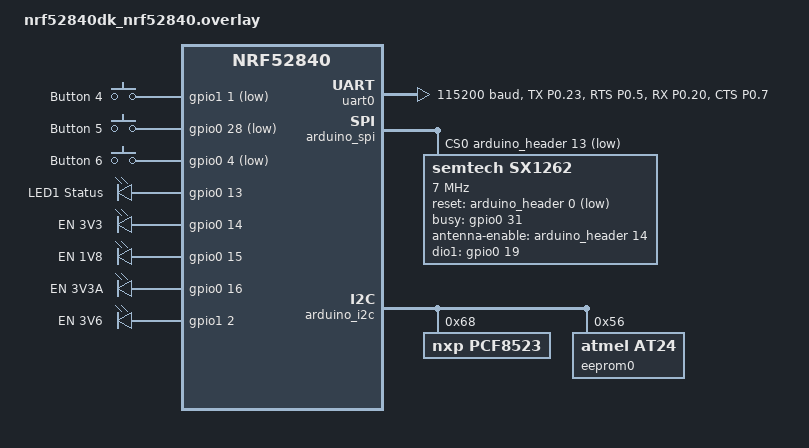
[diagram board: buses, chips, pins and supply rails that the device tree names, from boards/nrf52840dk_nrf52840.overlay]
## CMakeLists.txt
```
# SPDX-License-Identifier: Apache-2.0

cmake_minimum_required(VERSION 3.20.0)

find_package(Zephyr REQUIRED HINTS $ENV{ZEPHYR_BASE})
project(lorawan)

# Explicit sources to ensure sysbuild picks up new files
target_sources(app PRIVATE
  src/main.c
  src/lora_app.c
  src/lora_thread.c
  src/devnonce_store.c
  src/payload_gen.c
  src/power_ctrl.c
  src/buttons.c
  src/button_thread.c
  src/leds.c
  src/led_manager.c
  src/time_sync.c
  src/eeprom_probe.c
  src/button_counter_store.c
  src/rtc.c
)
```

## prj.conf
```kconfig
# Logging (Step 8: Optimize for power savings)
# CONFIG_LOG=y
# Use deferred logging mode - logs are buffered and processed in batches
# This reduces UART activity and allows CPU to sleep more
# CONFIG_LOG_MODE_DEFERRED=y
# Reduce log level to WRN/ERR only for production (reduces logging overhead)
# Change to CONFIG_LOG_DEFAULT_LEVEL_DBG=4 for full debugging
# CONFIG_LOG_DEFAULT_LEVEL=2

# CONFIG_LOG=y
# CONFIG_LOG_MODE_IMMEDIATE=y

# LoRaWAN
CONFIG_LORA=y
CONFIG_LORAWAN=y
# CONFIG_LORAMAC_REGION_US915=y
CONFIG_LORAMAC_REGION_EU868=y
CONFIG_TEST_RANDOM_GENERATOR=y
CONFIG_LORA_SX126X=y
# CONFIG_LORA_LOG_LEVEL_DBG=y

# Stack Sizes
CONFIG_MAIN_STACK_SIZE=2048
CONFIG_SYSTEM_WORKQUEUE_STACK_SIZE=2048

# System
CONFIG_REBOOT=y
CONFIG_SPI=y

# Power Management (Step 1: Enable tickless idle)
# Enable tickless kernel for deep sleep during idle
# This allows CPU to enter System ON sleep mode when threads call k_sleep()
CONFIG_TICKLESS_KERNEL=y
# Note: PM_DEVICE_RUNTIME removed - it was causing I2C device initialization issues
# Basic tickless idle provides 99%+ power savings without runtime PM

# I2C (for PCF8523 RTC)
CONFIG_I2C=y

# EEPROM (AT24-compatible I2C EEPROM like 24LC512/24AA512)
CONFIG_EEPROM=y
CONFIG_EEPROM_AT24=y

# GPIO (buttons)
CONFIG_GPIO=y

# CRC (used for EEPROM record integrity)
CONFIG_CRC=y

# RTC (optional; required only if an RTC node exists in DTS)
CONFIG_RTC=y
CONFIG_RTC_PCF8523=y


# CONFIG_BOOT_DELAY=5000

CONFIG_SERIAL=y
CONFIG_CONSOLE=y
CONFIG_UART_CONSOLE=y

# (Optional) Enable line control features (e.g. for USB CDC ACM)
# CONFIG_UART_LINE_CTRL=y
```

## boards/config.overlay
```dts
// /*
// * Copyright (C) 2023 Nordic Semiconductor ASA
// * SPDX-License-Identifier: Apache-2.0
// */

// #include <dt-bindings/regulator/npm13xx.h>
// #include <zephyr/dt-bindings/input/input-event-codes.h>

// &arduino_i2c {
//    npm1300_ek_pmic: pmic@6b {
//        compatible = "nordic,npm1300";
//        reg = <0x6b>;

       
//     // ship-to-active-time = <96>;

       
//     // long-press-reset = "one_button";


//        npm1300_ek_gpio: gpio-controller {
//            compatible = "nordic,npm1300-gpio";
//            gpio-controller;
//            #gpio-cells = <2>;
//            ngpios = <5>;
//        };

//        npm1300_ek_regulators: regulators {
//            compatible = "nordic,npm1300-regulator";

           
// npm1300_ek_buck1: BUCK1 {
//     regulator-min-microvolt = <1000000>;
//     regulator-max-microvolt = <3300000>;
//     regulator-init-microvolt =  <3300000>;
//     retention-microvolt = <1200000>;
    
    
    
    
    
// };



// npm1300_ek_buck2: BUCK2 {
//     regulator-min-microvolt = <1000000>;
//     regulator-max-microvolt = <3300000>;
//     regulator-init-microvolt =  <3300000>;
//     retention-microvolt = <1800000>;
    
    
    
    
    
// };


            
// npm1300_ek_ldo1: LDO1 {
//     regulator-min-microvolt = <1000000>;
//     regulator-max-microvolt = <3300000>;
    
//     regulator-initial-mode = <NPM13XX_LDSW_MODE_LDSW>;
    
    
// };



// npm1300_ek_ldo2: LDO2 {
//     regulator-min-microvolt = <1000000>;
//     regulator-max-microvolt = <3300000>;
    
//     regulator-initial-mode = <NPM13XX_LDSW_MODE_LDSW>;
    
    
// };

//        };

       
// npm1300_ek_charger: charger {
//     compatible = "nordic,npm1300-charger";
//     term-microvolt = <3600000>;
//     term-warm-microvolt = <3600000>;
//     // term-current-percent = <10>;
//     current-microamp = <32000>;
//     // trickle-microvolt = <2900000>;
//     dischg-limit-microamp = <1000000>;
//     vbus-limit-microamp = <500000>;
//     thermistor-ohms = <10000>;
//     thermistor-beta = <3380>;
    
    
    
// };

       
// npm1300_ek_leds: leds {
//     compatible = "nordic,npm1300-led";
//     nordic,led0-mode = "error";    
// nordic,led1-mode = "charging";    
// nordic,led2-mode = "host";
// };

//    };
// };

// &i2c0_default{
//     group2{
//         psels = <NRF_PSEL(TWIM_SCL,0,27)>,<NRF_PSEL(TWIM_SDA,0,26)>;
//         bias-pull-up;
//         };
// };
// /delete-node/ &{/pin-controller/i2c0_default/group1/};
```

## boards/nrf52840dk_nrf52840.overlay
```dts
/ {
    aliases {
        sw0 = &button0;
        sw1 = &button1;
        sw2 = &button2;
        sw3 = &button3;
        sw4 = &button4;
        sw5 = &button5;
        sw6 = &button6;
        led0 = &led0;
        lora0 = &lora_semtech_sx1262mb2das;
    };

    buttons {
        compatible = "gpio-keys";

        button4: button_4 {
            label = "Button 4";
            gpios = <&gpio1 1 (GPIO_ACTIVE_LOW | GPIO_PULL_UP)>;
        };

        button5: button_5 {
            label = "Button 5";
            gpios = <&gpio0 28 (GPIO_ACTIVE_LOW | GPIO_PULL_UP)>;
        };

        button6: button_6 {
            label = "Button 6";
            gpios = <&gpio0 4 (GPIO_ACTIVE_LOW | GPIO_PULL_UP)>;
        };
    };

leds {
		compatible = "gpio-leds";

		led0: led_0 {
			gpios = <&gpio0 13 GPIO_ACTIVE_HIGH>;
			label = "LED1 Status";
		};
	};

enables {
		compatible = "gpio-leds";

		en3v3: en3v3 {
			gpios = <&gpio0 14 GPIO_ACTIVE_HIGH>;
			label = "EN 3V3";
		};

		en1v8: en1v8 {
			gpios = <&gpio0 15 GPIO_ACTIVE_HIGH>;
			label = "EN 1V8";
		};

		en3v3a: en3v3a {
			gpios = <&gpio0 16 GPIO_ACTIVE_HIGH>;
			label = "EN 3V3A";
		};

		en3v6: en3v6 {
			gpios = <&gpio1 2 GPIO_ACTIVE_HIGH>;
			label = "EN 3V6";
		};
	};
};


	
&spi1 {	
	status="disabled";
};	
	
&qspi {	
	status="disabled";
};	
	
&pwm0 {	
	status="disabled";
};	


/* ---------- PINCTRL configuration ---------- */
&pinctrl {
    uart0_default: uart0_default {
        group1 {
            psels = <NRF_PSEL(UART_TX, 0, 23)>,
                    <NRF_PSEL(UART_RTS, 0, 5)>;
        };
        group2 {
            psels = <NRF_PSEL(UART_RX, 0, 20)>,
                    <NRF_PSEL(UART_CTS, 0, 7)>;
            bias-pull-up;
        };
    };

    uart0_sleep: uart0_sleep {
        group1 {
            psels = <NRF_PSEL(UART_TX, 0, 23)>,
                    <NRF_PSEL(UART_RX, 0, 20)>,
                    <NRF_PSEL(UART_RTS, 0, 5)>,
                    <NRF_PSEL(UART_CTS, 0, 7)>;
            low-power-enable;
        };
    };
};

/* ---------- UART configuration ---------- */
&uart0 {
    compatible = "nordic,nrf-uarte";
    status = "okay";
    current-speed = <115200>;

    /* Link pinctrl groups */
    pinctrl-0 = <&uart0_default>;
    pinctrl-1 = <&uart0_sleep>;
    pinctrl-names = "default", "sleep";

    /* Optional: disable HW flow control if not used */
    // hw-flow-control;
};



&arduino_spi {
	status = "okay";

	/* CS pins for each SPI device: [0]=LoRa, [1]=EPD, [2]=NFC */
	cs-gpios = <&arduino_header 13 GPIO_ACTIVE_LOW>; /* LoRa CS - P1.08 */
	       
	// SX1262 SHIELD
	// lora_semtech_sx1262mb2das: sx1262@0 {
	// 	compatible = "semtech,sx1262";
	// 	reg = <0>;
	// 	spi-max-frequency = <7000000>;
	// 	label = "SX1262";
	// 	reset-gpios = <&arduino_header 0 GPIO_ACTIVE_LOW>;
	// 	busy-gpios = <&arduino_header 9 GPIO_ACTIVE_HIGH>;
	// 	antenna-enable-gpios = <&arduino_header 14 GPIO_ACTIVE_HIGH>;
	// 	dio1-gpios = <&arduino_header 11 GPIO_ACTIVE_HIGH>;
	// 	dio2-tx-enable;
	// 	tcxo-power-startup-delay-ms = <5>;
	// };

	// LR62E
	lora_semtech_sx1262mb2das: sx1262@0 {
	compatible = "semtech,sx1262";
	reg = <0>;
	spi-max-frequency = <7000000>;
	label = "SX1262";
	reset-gpios = <&arduino_header 0 GPIO_ACTIVE_LOW>; // 0,3
	busy-gpios = <&gpio0 31 GPIO_ACTIVE_HIGH>; // 0,31
	antenna-enable-gpios = <&arduino_header 14 GPIO_ACTIVE_HIGH>; // 1,10 
	dio1-gpios = <&gpio0 19 GPIO_ACTIVE_HIGH>; //  0,19
	dio2-tx-enable;
	tcxo-power-startup-delay-ms = <5>;

	// SEEED WIO
	// lora_semtech_sx1262mb2das: sx1262@0 {
    // compatible = "semtech,sx1262";
    // reg = <0>;
    // /* SPI */
    // spi-max-frequency = <8000000>;
    // label = "SX1262";
    // /* Control signals */
    // reset-gpios = <&arduino_header 0 GPIO_ACTIVE_LOW>; /* P0.03 */
    // busy-gpios  = <&gpio0 31 GPIO_ACTIVE_HIGH>;        /* P0.31 */
    // dio1-gpios  = <&gpio0 19 GPIO_ACTIVE_HIGH>;        /* P0.19 */
    // /* TCXO (Wio-SX1262 uses DIO3 @ 1.8V) */
    // dio3-tcxo-voltage = <0x02>;
    // tcxo-power-startup-delay-ms = <5>;
    // /* RF switch handled internally via DIO2 */
    // dio2-tx-enable;
    // status = "okay";

	};

};

/* PCF8523 RTC on I2C (address 0x68).
 * Adjust wiring/pins by switching to &i2c0 / &i2c1 if needed, but
 * nrf52840dk's &arduino_i2c is usually routed to the Arduino header.
 */
&arduino_i2c {
	status = "okay";

	pcf8523: pcf8523@68 {
		compatible = "nxp,pcf8523";
		reg = <0x68>;
		/* Required by binding: choose "disabled" unless you have VBAT wired */
		battery-switch-over = "standard";
		/* Optional: disable CLKOUT to save power/noise */
		clkout-frequency = <0>;
	};

	/*
	 * External EEPROM (Microchip 24AA512/24LC512/24FC512, 512 Kbit = 64 KiB)
	 * I2C address: 0x56 (as wired on your custom board)
	 */
	eeprom0: eeprom@56 {
		compatible = "atmel,at24";
		reg = <0x56>;
		size = <65536>;
		pagesize = <128>;
		address-width = <16>;
		/* Binding requires a timeout (ms) for write-cycle completion polling */
		timeout = <5>;
	};
};
```

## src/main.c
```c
/*
 * LoRaWAN Application
 *
 * SPDX-License-Identifier: Apache-2.0
 */

#include <stdbool.h>
#include <string.h>
#include <zephyr/device.h>
#include <zephyr/devicetree.h>
#include <zephyr/drivers/i2c.h>
#include <zephyr/kernel.h>
#include <zephyr/logging/log.h>
#include <zephyr/sys/util.h>

#include "button_counter_store.h"
#include "button_thread.h"
#include "buttons.h"
#include "devnonce_store.h"
#include "eeprom_probe.h"
#include "led_manager.h"
#include "log_fmt.h"
#include "lora_app.h"
#include "payload_gen.h"
#include "power_ctrl.h"
#include "rtc.h"
#include "sys_config.h"
#include "time_sync.h"

#include <zephyr/sys/reboot.h>

LOG_MODULE_REGISTER(main, CONFIG_LOG_DEFAULT_LEVEL);

#define SEND_INTERVAL K_SECONDS(LORA_SEND_INTERVAL_SECONDS)

int main(void) {
  int ret;

  LOG_SECTION_INF("LoRaWAN Application Starting");

  k_sleep(K_SECONDS(1));

  ret = power_ctrl_init();
  if (ret < 0) {
    LOG_ERR("Power control init failed: %d", ret);
    return ret;
  }

  /* Power up all domains for initialization */
  power_ctrl_set(POWER_EN_3V3, true);
  power_ctrl_set(POWER_EN_1V8, true);
  power_ctrl_set(POWER_EN_3V3A, true);
  power_ctrl_set(
      POWER_EN_3V6,
      true); /* LoRa radio - will be managed by lora_thread after join */

  k_sleep(K_SECONDS(1));

  /* Wait for I2C bus to stabilize after power-on */
#if DT_NODE_EXISTS(DT_NODELABEL(arduino_i2c))
  const struct device *i2c_dev = DEVICE_DT_GET(DT_NODELABEL(arduino_i2c));
  if (i2c_dev != NULL) {
    int i2c_retries = 10;
    while (i2c_retries > 0 && !device_is_ready(i2c_dev)) {
      LOG_DBG("Waiting for I2C bus to be ready...");
      k_msleep(100);
      i2c_retries--;
    }
    if (device_is_ready(i2c_dev)) {
      LOG_INF("I2C bus ready");
    } else {
      LOG_WRN("I2C bus not ready after waiting");
    }
  }
  /* Additional delay for EEPROM power-on stabilization */
  k_msleep(50);
#endif

  /* Initialize payload generator (stable NFC UID, counters) */
  payload_gen_init();

  /* Initialize LED manager early (used for join + button feedback) */
  ret = led_manager_init();
  if (ret != 0) {
    LOG_WRN("LED manager init failed (%d); LED feedback may be disabled", ret);
  }

  /* EEPROM bring-up (readiness check only) */
  eeprom_probe_log();

  /* Persistent button counters (EEPROM is mandatory) */
  ret = button_counter_store_init();
  if (ret != 0) {
    LOG_ERR("Button counter store init failed (%d) - rebooting", ret);
    sys_reboot(SYS_REBOOT_COLD);
  }

  /* Persistent DevNonce (EEPROM-backed). Mandatory for robust OTAA joins. */
  ret = devnonce_store_init();
  if (ret != 0) {
    LOG_ERR("DevNonce store init failed (%d) - rebooting", ret);
    sys_reboot(SYS_REBOOT_COLD);
  }

#if EEPROM_DEVNONCE_FACTORY_RESET_ON_BOOT
  /* One-shot maintenance: erase DevNonce and reinitialize with random value, then reboot. */
  ret = devnonce_store_factory_reset();
  if (ret != 0) {
    LOG_ERR("DevNonce factory reset failed (%d) - rebooting", ret);
  }
  LOG_INF("DevNonce factory reset complete - rebooting");
  sys_reboot(SYS_REBOOT_COLD);
#endif

#if EEPROM_COUNTERS_FACTORY_RESET_ON_BOOT
  /* One-shot maintenance: wipe persistent counters, then reboot. */
  ret = button_counter_store_factory_reset();
  if (ret != 0) {
    LOG_ERR("Factory reset failed (%d) - rebooting", ret);
  }
  sys_reboot(SYS_REBOOT_COLD);
#endif

  /* Optional RTC init (button mode uses RTC timestamps) */
  ret = rtc_app_init();
  if (ret != 0) {
    LOG_WRN("RTC init not available (%d); button timestamps may fall back",
            ret);
    sys_reboot(SYS_REBOOT_COLD);
  }

  /* Initialize LoRaWAN stack */
  ret = lora_app_init();
  if (ret < 0) {
    LOG_ERR("Failed to initialize LoRa app: %d", ret);
    return 0;
  }

  /* Start the LoRa thread for join and message processing */
  k_thread_start(lora_thread_id);
  LOG_INF("LoRa thread started");

  /* Wait for actual join completion (timeout after 2 minutes) */
  LOG_INF("Waiting for LoRa join to complete...");
  ret = lora_wait_for_join(K_SECONDS(120));
  if (ret != 0) {
    LOG_ERR("LoRa join did not complete within timeout!");
#if LORA_REBOOT_ON_JOIN_TIMEOUT
    LOG_ERR("LORA_REBOOT_ON_JOIN_TIMEOUT=1; rebooting");
    sys_reboot(SYS_REBOOT_COLD);
#endif
    /* Continue anyway - the thread will keep trying to join (if reboot
     * disabled) */
  } else {
    LOG_INF("LoRa join confirmed!");
  }

#if RTC_REQUIRE_LNS_TIME_SYNC
  LOG_SECTION_INF("RTC SYNC REQUIRED: requesting LoRaWAN network time");
  time_sync_request_and_update_rtc();
  ret = time_sync_wait(K_SECONDS(RTC_TIME_SYNC_REQUIRED_TIMEOUT_SECONDS));
  if (ret != 0) {
    LOG_ERR("RTC time sync did not complete successfully (%d) - rebooting",
            ret);
    sys_reboot(SYS_REBOOT_COLD);
  }
#endif

  if (DEMO_USE_REAL_BUTTON_UPLINK) {
    LOG_INF("Demo mode: REAL BUTTON uplinks");

    ret = buttons_init();
    if (ret != 0) {
      LOG_ERR("buttons_init failed: %d", ret);
      return 0;
    }

    k_thread_start(button_uplink_thread_id);
    LOG_INF("Button uplink thread started");

    /* Buttons are interrupt-driven, so main thread can sleep indefinitely.
     * Button presses wake the system via GPIO interrupts, and the button
     * thread handles all uplink processing. This allows maximum deep sleep
     * time and minimal power consumption.
     */
    LOG_INF("Main thread entering deep sleep (buttons wake via interrupt)");
    while (1) {
      k_sleep(K_FOREVER); /* Sleep indefinitely - buttons wake via interrupt */
    }
  }

  LOG_INF("Demo mode: PSEUDO simulation; sending every %d seconds",
          LORA_SEND_INTERVAL_SECONDS);

  /* Main loop - generate + queue payloads every interval.
   * With tickless kernel enabled, k_sleep() allows CPU to enter deep sleep
   * during the 15-minute interval, providing maximum power savings.
   */
  while (1) {
    lora_uplink_msg_t msg = {0};
    uint8_t fport = 0;
    uint8_t payload[PAYLOAD_LEN_BYTES] = {0};

    /* Generate next rotating payload */
    ret = payload_gen_next(payload, &fport);
    if (ret != 0) {
      LOG_ERR("Failed to generate payload: %d", ret);
      /* Deep sleep during interval - tickless kernel handles this */
      k_sleep(SEND_INTERVAL);
      continue;
    }

    /* Prepare uplink message */
    msg.port = fport;
    msg.confirmed = false;
    msg.len = PAYLOAD_LEN_BYTES;
    memcpy(msg.data, payload, PAYLOAD_LEN_BYTES);
    payload_hex_dump(payload, PAYLOAD_LEN_BYTES);
    payload_decode_log(payload, PAYLOAD_LEN_BYTES);

    /* Queue the message for sending */
    ret = lora_put_event(&msg, K_NO_WAIT);
    if (ret == -ENOTCONN) {
      LOG_WRN("Not joined to network yet, skipping message");
    } else if (ret != 0) {
      LOG_ERR("Failed to queue LoRa message: %d", ret);
    } else {
      LOG_INF("Message queued successfully");
    }

    /* Deep sleep during interval - tickless kernel allows CPU to enter
     * System ON sleep mode, waking only when the timer expires.
     * This provides maximum power savings between transmissions.
     */
    k_sleep(SEND_INTERVAL);
  }

  return 0;
}
```

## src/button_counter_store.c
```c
/*
 * Persistent per-button counters stored in external AT24-compatible EEPROM.
 *
 * Design:
 * - Two fixed slots (A/B) with seq + CRC32 for power-loss safety.
 * - Counters cached in RAM and flushed to EEPROM after a short delay.
 * - EEPROM is mandatory for production; callers can hard-fail if init fails.
 */

#include "button_counter_store.h"

#include "log_fmt.h"
#include "sys_config.h"

#include <errno.h>
#include <string.h>
#include <zephyr/device.h>
#include <zephyr/drivers/eeprom.h>
#include <zephyr/kernel.h>
#include <zephyr/logging/log.h>
#include <zephyr/sys/crc.h>

LOG_MODULE_REGISTER(button_counter_store, CONFIG_LOG_DEFAULT_LEVEL);

/* EEPROM node */
#if DT_NODE_EXISTS(DT_NODELABEL(eeprom0))
#define EEPROM_NODE DT_NODELABEL(eeprom0)
static const struct device *eeprom_dev = DEVICE_DT_GET(EEPROM_NODE);
#else
static const struct device *eeprom_dev = NULL;
#endif

/* Storage layout: 2 slots of fixed size at EEPROM offset 0 */
#define SLOT_SIZE 256U
#define SLOT0_OFF 0U
#define SLOT1_OFF (SLOT0_OFF + SLOT_SIZE)

/* Flush delay: batch presses to reduce EEPROM wear */
#define FLUSH_DELAY K_SECONDS(5)

/* Record format */
#define COUNTER_MAGIC 0x43544E52U /* 'CTNR' */
#define COUNTER_VERSION 1U

struct __packed counter_record {
  uint32_t magic;
  uint8_t version;
  uint8_t num_buttons;
  uint16_t reserved;
  uint32_t seq;
  uint32_t counters[NUM_BUTTONS];
  uint32_t crc32;
};

static struct {
  struct k_mutex lock;
  struct k_work_delayable flush_work;
  bool initialized;
  bool dirty;
  uint8_t active_slot; /* 0 or 1 */
  uint32_t seq;
  uint32_t counters[NUM_BUTTONS];
} ctx;

static uint32_t record_crc32(const struct counter_record *rec) {
  /* CRC over everything except the crc32 field */
  return crc32_ieee((const uint8_t *)rec, offsetof(struct counter_record, crc32));
}

static int eeprom_read_rec(off_t off, struct counter_record *out) {
  int ret = eeprom_read(eeprom_dev, off, out, sizeof(*out));
  if (ret != 0) {
    return ret;
  }
  return 0;
}

static int eeprom_write_rec(off_t off, const struct counter_record *rec) {
  return eeprom_write(eeprom_dev, off, rec, sizeof(*rec));
}

static bool record_is_blank(const struct counter_record *rec) {
  /* If EEPROM is erased, all bytes read as 0xFF */
  const uint8_t *p = (const uint8_t *)rec;
  for (size_t i = 0; i < sizeof(*rec); i++) {
    if (p[i] != 0xFF) {
      return false;
    }
  }
  return true;
}

static bool record_is_valid(const struct counter_record *rec) {
  if (rec->magic != COUNTER_MAGIC) {
    return false;
  }
  if (rec->version != COUNTER_VERSION) {
    return false;
  }
  if (rec->num_buttons != NUM_BUTTONS) {
    return false;
  }
  return record_crc32(rec) == rec->crc32;
}

static void build_record(struct counter_record *rec, uint32_t seq,
                         const uint32_t counters[NUM_BUTTONS]) {
  memset(rec, 0, sizeof(*rec));
  rec->magic = COUNTER_MAGIC;
  rec->version = COUNTER_VERSION;
  rec->num_buttons = NUM_BUTTONS;
  rec->reserved = 0;
  rec->seq = seq;
  for (int i = 0; i < NUM_BUTTONS; i++) {
    rec->counters[i] = counters[i];
  }
  rec->crc32 = record_crc32(rec);
}

static int load_from_eeprom(void) {
  struct counter_record r0 = {0};
  struct counter_record r1 = {0};

  int ret = eeprom_read_rec(SLOT0_OFF, &r0);
  if (ret != 0) {
    return ret;
  }
  ret = eeprom_read_rec(SLOT1_OFF, &r1);
  if (ret != 0) {
    return ret;
  }

  const bool blank0 = record_is_blank(&r0);
  const bool blank1 = record_is_blank(&r1);
  const bool v0 = record_is_valid(&r0);
  const bool v1 = record_is_valid(&r1);

  if ((blank0 && blank1) || (!v0 && !v1)) {
    LOG_WRN("Counter store not initialized; starting fresh (blank=%d/%d valid=%d/%d)",
            blank0, blank1, v0, v1);
    ctx.active_slot = 0;
    ctx.seq = 0;
    for (int i = 0; i < NUM_BUTTONS; i++) {
      ctx.counters[i] = 0;
    }

    /* Write initial record to slot0 */
    struct counter_record init = {0};
    build_record(&init, ctx.seq, ctx.counters);
    ret = eeprom_write_rec(SLOT0_OFF, &init);
    if (ret != 0) {
      return ret;
    }
    LOG_INF("Counter store initialized in EEPROM (slot=%u seq=%u)", ctx.active_slot,
            ctx.seq);
    LOG_INF("Button counters (boot): b0=%u b1=%u b2=%u b3=%u b4=%u b5=%u b6=%u",
            ctx.counters[0], ctx.counters[1], ctx.counters[2], ctx.counters[3],
            ctx.counters[4], ctx.counters[5], ctx.counters[6]);
    return 0;
  }

  const struct counter_record *best = NULL;
  uint8_t best_slot = 0;
  if (v0 && v1) {
    if (r1.seq >= r0.seq) {
      best = &r1;
      best_slot = 1;
    } else {
      best = &r0;
      best_slot = 0;
    }
  } else if (v0) {
    best = &r0;
    best_slot = 0;
  } else {
    best = &r1;
    best_slot = 1;
  }

  ctx.active_slot = best_slot;
  ctx.seq = best->seq;
  for (int i = 0; i < NUM_BUTTONS; i++) {
    ctx.counters[i] = best->counters[i];
  }

  LOG_INF("Counter store loaded: slot=%u seq=%u", ctx.active_slot, ctx.seq);
  LOG_INF("Button counters (boot): b0=%u b1=%u b2=%u b3=%u b4=%u b5=%u b6=%u",
          ctx.counters[0], ctx.counters[1], ctx.counters[2], ctx.counters[3],
          ctx.counters[4], ctx.counters[5], ctx.counters[6]);
  return 0;
}

static void flush_work_handler(struct k_work *work) {
  ARG_UNUSED(work);

  k_mutex_lock(&ctx.lock, K_FOREVER);
  if (!ctx.dirty) {
    k_mutex_unlock(&ctx.lock);
    return;
  }

  const uint8_t next_slot = (ctx.active_slot == 0) ? 1 : 0;
  const off_t off = (next_slot == 0) ? (off_t)SLOT0_OFF : (off_t)SLOT1_OFF;
  const uint32_t next_seq = ctx.seq + 1U;

  struct counter_record rec = {0};
  build_record(&rec, next_seq, ctx.counters);

  k_mutex_unlock(&ctx.lock);

  int ret = eeprom_write_rec(off, &rec);

  k_mutex_lock(&ctx.lock, K_FOREVER);
  if (ret != 0) {
    LOG_ERR("EEPROM counter flush failed (slot=%u off=0x%x): %d",
            next_slot, (unsigned)off, ret);
    /* Keep dirty=true so we retry on next schedule */
    k_mutex_unlock(&ctx.lock);
    return;
  }

  ctx.active_slot = next_slot;
  ctx.seq = next_seq;
  ctx.dirty = false;
  LOG_INF("EEPROM counter flush OK (slot=%u seq=%u)", ctx.active_slot, ctx.seq);
  k_mutex_unlock(&ctx.lock);
}

static int erase_counter_slots(void) {
  /* Erase just the two slots we use, not the entire EEPROM. */
  uint8_t ff[SLOT_SIZE];
  memset(ff, 0xFF, sizeof(ff));

  int ret = eeprom_write(eeprom_dev, SLOT0_OFF, ff, sizeof(ff));
  if (ret != 0) {
    return ret;
  }
  ret = eeprom_write(eeprom_dev, SLOT1_OFF, ff, sizeof(ff));
  if (ret != 0) {
    return ret;
  }
  return 0;
}

int button_counter_store_init(void) {
  if (ctx.initialized) {
    return 0;
  }

  if (eeprom_dev == NULL) {
    return -ENODEV;
  }
  if (!device_is_ready(eeprom_dev)) {
    return -ENODEV;
  }

  k_mutex_init(&ctx.lock);
  k_work_init_delayable(&ctx.flush_work, flush_work_handler);

  k_mutex_lock(&ctx.lock, K_FOREVER);
  ctx.dirty = false;
  ctx.active_slot = 0;
  ctx.seq = 0;
  for (int i = 0; i < NUM_BUTTONS; i++) {
    ctx.counters[i] = 0;
  }
  k_mutex_unlock(&ctx.lock);

  int ret = load_from_eeprom();
  if (ret != 0) {
    LOG_ERR("Failed to load counters from EEPROM: %d", ret);
    return ret;
  }

  ctx.initialized = true;
  return 0;
}

int button_counter_store_factory_reset(void) {
  if (eeprom_dev == NULL || !device_is_ready(eeprom_dev)) {
    return -ENODEV;
  }

  /* Avoid flushing while we reset */
  (void)k_work_cancel_delayable(&ctx.flush_work);

  k_mutex_lock(&ctx.lock, K_FOREVER);
  ctx.dirty = false;
  k_mutex_unlock(&ctx.lock);

  LOG_SECTION_WRN("FACTORY RESET: EEPROM button counters");

  int ret = erase_counter_slots();
  if (ret != 0) {
    LOG_ERR("Failed to erase counter slots: %d", ret);
    return ret;
  }

  k_mutex_lock(&ctx.lock, K_FOREVER);
  ctx.active_slot = 0;
  ctx.seq = 0;
  for (int i = 0; i < NUM_BUTTONS; i++) {
    ctx.counters[i] = 0;
  }
  k_mutex_unlock(&ctx.lock);

  struct counter_record init = {0};
  build_record(&init, 0, ctx.counters);
  ret = eeprom_write_rec(SLOT0_OFF, &init);
  if (ret != 0) {
    LOG_ERR("Failed to write initial counter record: %d", ret);
    return ret;
  }

  LOG_WRN("Factory reset complete (slot=0 seq=0). Counters set to zero.");
  return 0;
}

int button_counter_store_inc(uint8_t button_id, uint32_t *out_counter) {
  if (!ctx.initialized) {
    return -EACCES;
  }
  if (button_id >= NUM_BUTTONS) {
    return -EINVAL;
  }

  k_mutex_lock(&ctx.lock, K_FOREVER);
  ctx.counters[button_id] += 1U;
  const uint32_t v = ctx.counters[button_id];
  ctx.dirty = true;
  k_mutex_unlock(&ctx.lock);

  (void)k_work_schedule(&ctx.flush_work, FLUSH_DELAY);

  if (out_counter) {
    *out_counter = v;
  }
  return 0;
}

int button_counter_store_get(uint8_t button_id, uint32_t *out_counter) {
  if (!ctx.initialized) {
    return -EACCES;
  }
  if (out_counter == NULL) {
    return -EINVAL;
  }
  if (button_id >= NUM_BUTTONS) {
    return -EINVAL;
  }

  k_mutex_lock(&ctx.lock, K_FOREVER);
  *out_counter = ctx.counters[button_id];
  k_mutex_unlock(&ctx.lock);
  return 0;
}
```

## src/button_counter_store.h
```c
#ifndef BUTTON_COUNTER_STORE_H
#define BUTTON_COUNTER_STORE_H

#include <stdint.h>

/**
 * @brief Initialize persistent per-button counters.
 *
 * EEPROM is mandatory: on failure, returns a negative errno.
 */
int button_counter_store_init(void);

/**
 * @brief Increment and return the counter for a given button.
 *
 * @param button_id 0..NUM_BUTTONS-1
 * @param out_counter Optional; receives new counter value.
 * @return 0 on success, negative errno on failure.
 */
int button_counter_store_inc(uint8_t button_id, uint32_t *out_counter);

/**
 * @brief Get current counter value for a given button.
 *
 * @param button_id 0..NUM_BUTTONS-1
 * @param out_counter Output.
 * @return 0 on success, negative errno on failure.
 */
int button_counter_store_get(uint8_t button_id, uint32_t *out_counter);

/**
 * @brief Factory reset the persistent counter area in EEPROM.
 *
 * Erases the counter slots and writes an initial zeroed record.
 *
 * @return 0 on success, negative errno on failure.
 */
int button_counter_store_factory_reset(void);

#endif /* BUTTON_COUNTER_STORE_H */
```

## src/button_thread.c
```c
#include "button_thread.h"

#include "buttons.h"
#include "led_manager.h"
#include "lora_app.h"
#include "log_fmt.h"
#include "payload_gen.h"
#include "rtc.h"
#include "sys_config.h"

#include <errno.h>
#include <string.h>
#include <zephyr/kernel.h>
#include <zephyr/logging/log.h>

LOG_MODULE_REGISTER(button_uplink, CONFIG_LOG_DEFAULT_LEVEL);

/* Map driver button index (0..NUM_BUTTONS-1) -> payload button_id */
static const uint8_t button_id_map[NUM_BUTTONS] = {0, 1, 2, 3, 4, 5, 6};

static void button_uplink_thread_fn(void *a, void *b, void *c) {
  button_event_t btn_evt;
  uint32_t last_press_ms[NUM_BUTTONS] = {0};
  uint32_t last_accepted_any_press_ms = 0;

  ARG_UNUSED(a);
  ARG_UNUSED(b);
  ARG_UNUSED(c);

  LOG_SECTION_INF("BUTTON UPLINK THREAD ENTRY");

  while (1) {
    (void)buttons_get_event(&btn_evt, K_FOREVER);

    if (btn_evt.button_id >= NUM_BUTTONS) {
      continue;
    }

    if (btn_evt.type != BUTTON_EVENT_PRESS) {
      continue; /* demo cares only about presses */
    }

    /* Simple debounce in thread context */
    uint32_t now_ms = (uint32_t)k_uptime_get_32();
    if ((now_ms - last_press_ms[btn_evt.button_id]) < BUTTON_DEBOUNCE_MS) {
      continue;
    }
    last_press_ms[btn_evt.button_id] = now_ms;

    /* Global anti-spam cooldown: ignore all presses for a while after any press */
    if ((now_ms - last_accepted_any_press_ms) < BUTTON_COOLDOWN_MS) {
      LOG_DBG("Button press ignored due to cooldown (%u ms remaining)",
              (uint32_t)(BUTTON_COOLDOWN_MS -
                         (now_ms - last_accepted_any_press_ms)));
      continue;
    }

    /* Blink LED for 1 second on press */
    (void)led_manager_blink_once(0);

    uint32_t epoch_s = 0;
    int ret = rtc_get_epoch_seconds(&epoch_s);
    if (ret != 0) {
      /* Fallback: still send something monotonic if RTC isn't available */
      epoch_s = (uint32_t)(k_uptime_get() / 1000U);
      LOG_WRN("RTC read failed (%d); using uptime seconds=%u", ret, epoch_s);
    }

    uint8_t payload[PAYLOAD_LEN_BYTES] = {0};
    uint8_t payload_button_id = button_id_map[btn_evt.button_id];

    uint32_t new_counter = 0;
    ret = payload_gen_build_button(payload_button_id, epoch_s, payload,
                                   &new_counter);
    if (ret != 0) {
      LOG_ERR("Failed to build button payload: %d", ret);
      continue;
    }

    lora_uplink_msg_t msg = {0};
    msg.port = FPORT_BUTTON;
    msg.confirmed = false;
    msg.len = PAYLOAD_LEN_BYTES;
    memcpy(msg.data, payload, PAYLOAD_LEN_BYTES);

    ret = lora_put_event(&msg, K_NO_WAIT);
    if (ret == -ENOTCONN) {
      LOG_WRN("Not joined yet; dropped button press id=%u", payload_button_id);
    } else if (ret != 0) {
      LOG_ERR("Failed to queue button uplink: %d", ret);
    } else {
      last_accepted_any_press_ms = now_ms;
      LOG_INF("Queued button uplink: btn=%u ctr=%u ts=%u", payload_button_id,
              new_counter, epoch_s);
    }
  }
}

/* Don't autostart; main.c starts it only in button demo mode */
K_THREAD_DEFINE(button_uplink_thread_id, BUTTON_THREAD_STACK_SIZE,
                button_uplink_thread_fn, NULL, NULL, NULL,
                BUTTON_THREAD_PRIORITY, 0, -1);
```

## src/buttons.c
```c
#include "buttons.h"
#include <zephyr/device.h>
#include <zephyr/drivers/gpio.h>
#include <zephyr/kernel.h>
#include <zephyr/logging/log.h>
#include <zephyr/sys/printk.h>

LOG_MODULE_REGISTER(buttons, LOG_LEVEL_INF);

/* Pull GPIO spec from DT aliases */
#define SW0_NODE DT_ALIAS(sw0)
#define SW1_NODE DT_ALIAS(sw1)
#define SW2_NODE DT_ALIAS(sw2)
#define SW3_NODE DT_ALIAS(sw3)
#define SW4_NODE DT_ALIAS(sw4)
#define SW5_NODE DT_ALIAS(sw5)
#define SW6_NODE DT_ALIAS(sw6)

/* EVENT Q */
K_MSGQ_DEFINE(button_msgq, sizeof(button_event_t), BUTTON_QUEUE_SIZE,
              BUTTON_QUEUE_ALIGNMENT);

/* Array of button GPIO specs */
const struct gpio_dt_spec buttons[NUM_BUTTONS] = {
    GPIO_DT_SPEC_GET_OR(SW0_NODE, gpios, {0}),
    GPIO_DT_SPEC_GET_OR(SW1_NODE, gpios, {0}),
    GPIO_DT_SPEC_GET_OR(SW2_NODE, gpios, {0}),
    GPIO_DT_SPEC_GET_OR(SW3_NODE, gpios, {0}),
    GPIO_DT_SPEC_GET_OR(SW4_NODE, gpios, {0}),
    GPIO_DT_SPEC_GET_OR(SW5_NODE, gpios, {0}),
    GPIO_DT_SPEC_GET_OR(SW6_NODE, gpios, {0}),
};

/* Callback storage for each button */
static struct gpio_callback button_cb_data[NUM_BUTTONS];

/*Button ISR*/
static void button_isr(const struct device *dev, struct gpio_callback *cb,
                       uint32_t pins);

bool buttons_get_event(button_event_t *event, k_timeout_t timeout) {
  return k_msgq_get(&button_msgq, event, timeout) == 0;
}

/* Interrupt handler */
static void button_isr(const struct device *dev, struct gpio_callback *cb,
                       uint32_t pins) {
  int64_t now = k_uptime_get();
  for (int i = 0; i < NUM_BUTTONS; i++) {
    if (pins & BIT(buttons[i].pin)) {
      /* Buttons are GPIO_ACTIVE_LOW with pull-ups; falling edge == press */
      button_event_t evt = {
          .button_id = i,
          .type = BUTTON_EVENT_PRESS,
          .timestamp_ms = now,
      };
      k_msgq_put(&button_msgq, &evt, K_NO_WAIT);
    }
  }
}

int buttons_init(void) {
  int ret;

  for (int i = 0; i < NUM_BUTTONS; i++) {
    if (!gpio_is_ready_dt(&buttons[i])) {
      LOG_ERR("Button %d device %s not ready", i, buttons[i].port->name);
      return -ENODEV;
    }

    ret = gpio_pin_configure_dt(&buttons[i], GPIO_INPUT | GPIO_PULL_UP);
    if (ret != 0) {
      LOG_ERR("Failed to configure button %d", i);
      return ret;
    }

    ret = gpio_pin_interrupt_configure_dt(&buttons[i], GPIO_INT_EDGE_FALLING);
    if (ret != 0) {
      LOG_ERR("Failed to set interrupt for button %d", i);
      return ret;
    }

    gpio_init_callback(&button_cb_data[i], button_isr, BIT(buttons[i].pin));
    gpio_add_callback(buttons[i].port, &button_cb_data[i]);

    LOG_INF("Initialized button %d on %s pin %d", i, buttons[i].port->name,
            buttons[i].pin);
  }

  return 0;
}
```

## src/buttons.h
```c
#ifndef BUTTONS_H
#define BUTTONS_H

#include "sys_config.h"
#include <stdbool.h>
#include <stdint.h>
#include <zephyr/devicetree.h>
#include <zephyr/drivers/gpio.h>
#include <zephyr/kernel.h>

// NUM_BUTTONS is now defined in sys_config.h

extern const struct gpio_dt_spec buttons[NUM_BUTTONS];

typedef enum { BUTTON_EVENT_PRESS, BUTTON_EVENT_RELEASE } button_event_type_t;

typedef struct {
  uint8_t button_id;
  button_event_type_t type;
  int64_t timestamp_ms;
} button_event_t;

int buttons_init(void);
bool buttons_get_event(button_event_t *event, k_timeout_t timeout);

#endif // BUTTONS_H
```

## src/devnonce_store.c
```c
#include "devnonce_store.h"

#include "log_fmt.h"
#include "sys_config.h"

#include <errno.h>
#include <string.h>

#include <zephyr/device.h>
#include <zephyr/drivers/eeprom.h>
#include <zephyr/kernel.h>
#include <zephyr/logging/log.h>
#include <zephyr/random/random.h>
#include <zephyr/sys/crc.h>

LOG_MODULE_REGISTER(devnonce_store, CONFIG_LOG_DEFAULT_LEVEL);

/* EEPROM node */
#if DT_NODE_EXISTS(DT_NODELABEL(eeprom0))
#define EEPROM_NODE DT_NODELABEL(eeprom0)
static const struct device *eeprom_dev = DEVICE_DT_GET(EEPROM_NODE);
#else
static const struct device *eeprom_dev = NULL;
#endif

/* Storage layout (must not overlap with other EEPROM users) */
#define SLOT_SIZE ((uint32_t)EEPROM_DEVNONCE_SLOT_SIZE)
#define SLOT0_OFF ((off_t)EEPROM_DEVNONCE_SLOT0_OFF)
#define SLOT1_OFF ((off_t)EEPROM_DEVNONCE_SLOT1_OFF)

#define DEVNONCE_MAGIC 0x444E4F4EU /* 'DNON' */
#define DEVNONCE_VERSION 1U

struct __packed devnonce_record {
  uint32_t magic;
  uint8_t version;
  uint8_t reserved0;
  uint16_t last_devnonce;
  uint32_t seq;
  uint32_t crc32;
  uint8_t pad[SLOT_SIZE - 4U - 1U - 1U - 2U - 4U - 4U];
};

static struct {
  struct k_mutex lock;
  bool initialized;
  uint8_t active_slot; /* 0 or 1 */
  uint32_t seq;
  uint16_t last_devnonce;
} ctx;

static uint32_t rec_crc32(const struct devnonce_record *rec) {
  return crc32_ieee((const uint8_t *)rec,
                    offsetof(struct devnonce_record, crc32));
}

static bool rec_is_blank(const struct devnonce_record *rec) {
  const uint8_t *p = (const uint8_t *)rec;
  for (size_t i = 0; i < sizeof(*rec); i++) {
    if (p[i] != 0xFF) {
      return false;
    }
  }
  return true;
}

static bool rec_is_valid(const struct devnonce_record *rec) {
  if (rec->magic != DEVNONCE_MAGIC) {
    return false;
  }
  if (rec->version != DEVNONCE_VERSION) {
    return false;
  }
  return rec_crc32(rec) == rec->crc32;
}

static void build_rec(struct devnonce_record *rec, uint32_t seq,
                      uint16_t last_devnonce) {
  memset(rec, 0, sizeof(*rec));
  rec->magic = DEVNONCE_MAGIC;
  rec->version = DEVNONCE_VERSION;
  rec->reserved0 = 0;
  rec->last_devnonce = last_devnonce;
  rec->seq = seq;
  rec->crc32 = rec_crc32(rec);
}

static int eeprom_read_rec(off_t off, struct devnonce_record *out) {
  return eeprom_read(eeprom_dev, off, out, sizeof(*out));
}

static int eeprom_write_rec(off_t off, const struct devnonce_record *rec) {
  return eeprom_write(eeprom_dev, off, rec, sizeof(*rec));
}

static int load_or_init(void) {
  struct devnonce_record r0 = {0};
  struct devnonce_record r1 = {0};

  int ret = eeprom_read_rec(SLOT0_OFF, &r0);
  if (ret != 0) {
    return ret;
  }
  ret = eeprom_read_rec(SLOT1_OFF, &r1);
  if (ret != 0) {
    return ret;
  }

  const bool blank0 = rec_is_blank(&r0);
  const bool blank1 = rec_is_blank(&r1);
  const bool v0 = rec_is_valid(&r0);
  const bool v1 = rec_is_valid(&r1);

  if ((blank0 && blank1) || (!v0 && !v1)) {
    /* Initialize with a randomized starting point to reduce predictability. */
    uint32_t rnd = 0;
    sys_rand_get(&rnd, sizeof(rnd));
    const uint16_t start = (uint16_t)rnd;

    ctx.active_slot = 0;
    ctx.seq = 0;
    ctx.last_devnonce = start;

    struct devnonce_record init = {0};
    build_rec(&init, ctx.seq, ctx.last_devnonce);
    ret = eeprom_write_rec(SLOT0_OFF, &init);
    if (ret != 0) {
      return ret;
    }

    LOG_SECTION_INF("DEVNONCE STORE INITIALIZED");
    LOG_INF("DevNonce store initialized (slot=%u seq=%u start=%u)",
            ctx.active_slot, ctx.seq, ctx.last_devnonce);
    return 0;
  }

  const struct devnonce_record *best = NULL;
  uint8_t best_slot = 0;
  if (v0 && v1) {
    if (r1.seq >= r0.seq) {
      best = &r1;
      best_slot = 1;
    } else {
      best = &r0;
      best_slot = 0;
    }
  } else if (v0) {
    best = &r0;
    best_slot = 0;
  } else {
    best = &r1;
    best_slot = 1;
  }

  ctx.active_slot = best_slot;
  ctx.seq = best->seq;
  ctx.last_devnonce = best->last_devnonce;

  LOG_INF("DevNonce store loaded (slot=%u seq=%u last=%u)",
          ctx.active_slot, ctx.seq, ctx.last_devnonce);
  return 0;
}

int devnonce_store_init(void) {
  if (ctx.initialized) {
    return 0;
  }
  if (eeprom_dev == NULL) {
    return -ENODEV;
  }
  if (!device_is_ready(eeprom_dev)) {
    return -ENODEV;
  }

  BUILD_ASSERT(SLOT_SIZE >= 16U, "DevNonce slot size too small");
  BUILD_ASSERT((EEPROM_DEVNONCE_SLOT0_OFF % 4U) == 0U,
               "DevNonce slot0 offset should be 4-byte aligned");

  k_mutex_init(&ctx.lock);
  k_mutex_lock(&ctx.lock, K_FOREVER);

  ctx.active_slot = 0;
  ctx.seq = 0;
  ctx.last_devnonce = 0;

  int ret = load_or_init();
  if (ret == 0) {
    ctx.initialized = true;
  }

  k_mutex_unlock(&ctx.lock);
  return ret;
}

int devnonce_store_next(uint16_t *out_nonce) {
  if (out_nonce == NULL) {
    return -EINVAL;
  }
  if (!ctx.initialized) {
    return -EACCES;
  }

  k_mutex_lock(&ctx.lock, K_FOREVER);

  const uint8_t next_slot = (ctx.active_slot == 0) ? 1 : 0;
  const off_t off = (next_slot == 0) ? SLOT0_OFF : SLOT1_OFF;

  /* Reserve the next value by persisting it before returning. */
  const uint16_t next_nonce = (uint16_t)(ctx.last_devnonce + 1U);
  const uint32_t next_seq = ctx.seq + 1U;

  struct devnonce_record rec = {0};
  build_rec(&rec, next_seq, next_nonce);

  k_mutex_unlock(&ctx.lock);

  int ret = eeprom_write_rec(off, &rec);

  k_mutex_lock(&ctx.lock, K_FOREVER);
  if (ret != 0) {
    LOG_ERR("DevNonce persist failed (slot=%u off=0x%x): %d",
            next_slot, (unsigned)off, ret);
    k_mutex_unlock(&ctx.lock);
    return ret;
  }

  ctx.active_slot = next_slot;
  ctx.seq = next_seq;
  ctx.last_devnonce = next_nonce;
  *out_nonce = next_nonce;

  k_mutex_unlock(&ctx.lock);
  return 0;
}

static int erase_devnonce_slots(void) {
  /* Erase both slots by writing 0xFF to them */
  uint8_t ff[SLOT_SIZE];
  memset(ff, 0xFF, sizeof(ff));

  int ret = eeprom_write(eeprom_dev, SLOT0_OFF, ff, sizeof(ff));
  if (ret != 0) {
    return ret;
  }
  ret = eeprom_write(eeprom_dev, SLOT1_OFF, ff, sizeof(ff));
  if (ret != 0) {
    return ret;
  }
  return 0;
}

int devnonce_store_factory_reset(void) {
  if (eeprom_dev == NULL || !device_is_ready(eeprom_dev)) {
    return -ENODEV;
  }

  /* Avoid concurrent access */
  k_mutex_lock(&ctx.lock, K_FOREVER);
  ctx.initialized = false;
  k_mutex_unlock(&ctx.lock);

  LOG_SECTION_WRN("FACTORY RESET: EEPROM DevNonce store");

  int ret = erase_devnonce_slots();
  if (ret != 0) {
    LOG_ERR("Failed to erase DevNonce slots: %d", ret);
    return ret;
  }

  /* Reinitialize with a new random starting value */
  k_mutex_lock(&ctx.lock, K_FOREVER);
  
  uint32_t rnd = 0;
  sys_rand_get(&rnd, sizeof(rnd));
  const uint16_t start = (uint16_t)rnd;

  ctx.active_slot = 0;
  ctx.seq = 0;
  ctx.last_devnonce = start;

  struct devnonce_record init = {0};
  build_rec(&init, ctx.seq, ctx.last_devnonce);
  ret = eeprom_write_rec(SLOT0_OFF, &init);
  if (ret != 0) {
    LOG_ERR("Failed to write initial DevNonce record: %d", ret);
    k_mutex_unlock(&ctx.lock);
    return ret;
  }

  ctx.initialized = true;
  k_mutex_unlock(&ctx.lock);

  LOG_WRN("DevNonce factory reset complete (slot=0 seq=0 start=%u). New random DevNonce initialized.", start);
  return 0;
}
```

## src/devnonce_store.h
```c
#ifndef DEVNONCE_STORE_H
#define DEVNONCE_STORE_H

#include <stdint.h>

/**
 * @brief Initialize persistent DevNonce storage.
 *
 * Uses external EEPROM (eeprom0). On failure returns negative errno.
 */
int devnonce_store_init(void);

/**
 * @brief Allocate the next DevNonce value (monotonic) and persist it.
 *
 * This function reserves the value in EEPROM before returning it, so that
 * even if the device resets mid-join, the same DevNonce will not be reused.
 *
 * @param out_nonce Output DevNonce (0..65535)
 * @return 0 on success, negative errno on failure.
 */
int devnonce_store_next(uint16_t *out_nonce);

/**
 * @brief Factory reset: erase DevNonce store and reinitialize with random value.
 *
 * This erases both EEPROM slots and reinitializes with a new random starting
 * DevNonce. Use this if you're getting OTAA errors and want to start fresh.
 *
 * @return 0 on success, negative errno on failure.
 */
int devnonce_store_factory_reset(void);

#endif /* DEVNONCE_STORE_H */
```

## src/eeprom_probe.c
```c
/*
 * External EEPROM bring-up probe (AT24 compatible).
 *
 * This is only a connectivity/readiness check so we can confidently move on to
 * persistent counter storage later.
 */

#include "eeprom_probe.h"

#include "log_fmt.h"

#include <zephyr/device.h>
#include <zephyr/drivers/eeprom.h>
#include <zephyr/logging/log.h>

LOG_MODULE_REGISTER(eeprom_probe, CONFIG_LOG_DEFAULT_LEVEL);

#if DT_NODE_EXISTS(DT_NODELABEL(eeprom0))
#define EEPROM_NODE DT_NODELABEL(eeprom0)
static const struct device *eeprom_dev = DEVICE_DT_GET(EEPROM_NODE);
#else
static const struct device *eeprom_dev = NULL;
#endif

void eeprom_probe_log(void) {
  if (eeprom_dev == NULL) {
    LOG_WRN("EEPROM node not present in devicetree (eeprom0)");
    return;
  }
  if (!device_is_ready(eeprom_dev)) {
    LOG_WRN("EEPROM device not ready");
    return;
  }

  uint8_t buf[16] = {0};
  int ret = eeprom_read(eeprom_dev, 0, buf, sizeof(buf));
  if (ret != 0) {
    LOG_WRN("EEPROM read failed: %d", ret);
    return;
  }

  LOG_SECTION_INF("EEPROM PROBE OK");
  LOG_INF("Read first %u bytes from EEPROM @0x56:", (unsigned)sizeof(buf));
  LOG_HEXDUMP_INF(buf, sizeof(buf), "EEPROM[0x0000..]");
}
```

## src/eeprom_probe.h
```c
#ifndef EEPROM_PROBE_H
#define EEPROM_PROBE_H

/**
 * @brief Probe external EEPROM and log basic readiness/read results.
 *
 * Safe to call even if EEPROM is absent; it will log warnings and return.
 */
void eeprom_probe_log(void);

#endif /* EEPROM_PROBE_H */
```

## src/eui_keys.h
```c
#ifndef EUI_KEYS_H
#define EUI_KEYS_H

/*
 * LoRaWAN identifiers/keys
 *
 * Keep these isolated from application logic so they are easy to rotate and
 * audit. This header is intentionally simple: it only defines the macros
 * consumed by the LoRaWAN join code.
 *
 * NOTE: Consider keeping this file out of version control for real products.
 */

/* BEGIN GENERATED BY gen_euis.py (do not edit by hand) */
#define LORAWAN_DEV_EUI                                                        \
  { 0x46, 0x4c, 0x58, 0x71, 0x81, 0x32, 0xe9, 0x08 }

#define LORAWAN_JOIN_EUI                                                        \
  { 0xea, 0xf2, 0x42, 0x8a, 0x14, 0xdb, 0xfd, 0x07 }

#define LORAWAN_APP_KEY                                                        \
  {                                                                            \
    0xdb, 0x6c, 0xe8, 0x11, 0xb1, 0xda, 0xb5, 0x55, 0x7f, 0x8b, 0xbc, 0x33,    \
        0xf0, 0x0d, 0x85, 0x0f                                                 \
  }
/* END GENERATED BY gen_euis.py */

/*
 * Alternative key sets (kept here for convenience; comment/uncomment as needed)
 *
 * #define LORAWAN_DEV_EUI  { ... }
 * #define LORAWAN_JOIN_EUI { ... }
 * #define LORAWAN_APP_KEY  { ... }
 */

#endif /* EUI_KEYS_H */
```

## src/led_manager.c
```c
#include "led_manager.h"
#include "leds.h"
#include "sys_config.h"

#include <zephyr/kernel.h>
#include <zephyr/logging/log.h>

LOG_MODULE_REGISTER(led_manager, LOG_LEVEL_INF);

/* LED blink work items - one per LED */
static struct k_work led_blink_work[NUM_LEDS];
static struct k_timer led_blink_timer[NUM_LEDS];

/* LED blink work handler - single LED */
static void led_blink_work_handler_0(struct k_work *work) { led_set(0, false); }

static void (*led_blink_handlers[NUM_LEDS])(struct k_work *) = {
    led_blink_work_handler_0,
};

/* Timer handler for LED blink - single LED */
static void led_blink_timer_handler_0(struct k_timer *timer) {
  k_work_submit(&led_blink_work[0]);
}

static void (*led_timer_handlers[NUM_LEDS])(struct k_timer *) = {
    led_blink_timer_handler_0,
};

int led_manager_init(void) {
  // Initialize LED hardware
  int ret = leds_init();
  if (ret != 0) {
    LOG_ERR("Failed to initialize LEDs: %d", ret);
    return ret;
  }

  // Initialize work items and timers for each LED
  for (int i = 0; i < NUM_LEDS; i++) {
    k_work_init(&led_blink_work[i], led_blink_handlers[i]);
    k_timer_init(&led_blink_timer[i], led_timer_handlers[i], NULL);
  }

  LOG_INF("LED manager initialized");
  return 0;
}

int led_manager_blink_once(uint8_t led_id) {
  if (led_id >= NUM_LEDS) {
    LOG_ERR("Invalid LED ID: %d", led_id);
    return -EINVAL;
  }

  // Turn on LED
  int ret = led_set(led_id, true);
  if (ret != 0) {
    LOG_ERR("Failed to turn on LED %d: %d", led_id, ret);
    return ret;
  }

  // Start timer to turn off after 1 second
  k_timer_start(&led_blink_timer[led_id], K_MSEC(LED_BLINK_DURATION_MS),
                K_NO_WAIT);

  LOG_INF("LED %d blinking for 1 second", led_id);
  return 0;
}

int led_manager_set_led(uint8_t led_id, bool state) {
  if (led_id >= NUM_LEDS) {
    LOG_ERR("Invalid LED ID: %d", led_id);
    return -EINVAL;
  }

  int ret = led_set(led_id, state);
  if (ret != 0) {
    LOG_ERR("Failed to set LED %d to %s: %d", led_id, state ? "ON" : "OFF",
            ret);
    return ret;
  }

  LOG_DBG("LED %d set to %s", led_id, state ? "ON" : "OFF");
  return 0;
}
```

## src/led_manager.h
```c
#ifndef LED_MANAGER_H
#define LED_MANAGER_H

#include <stdbool.h>
#include <stdint.h>

int led_manager_init(void);
int led_manager_set_led(uint8_t led_id, bool state);
int led_manager_blink_once(uint8_t led_id);

#endif /* LED_MANAGER_H */
```
